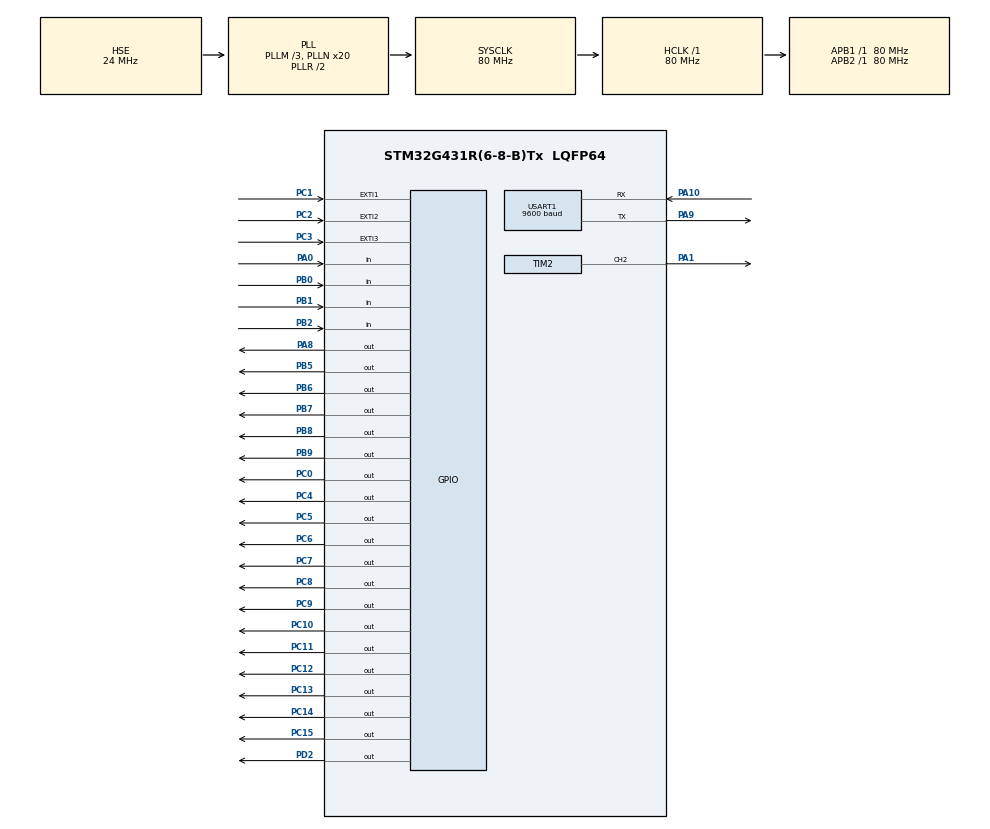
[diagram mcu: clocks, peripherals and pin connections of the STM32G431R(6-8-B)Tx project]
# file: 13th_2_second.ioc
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Mcu.Family=STM32G4
Mcu.Name=STM32G431R(6-8-B)Tx
Mcu.Package=LQFP64
NVIC.PriorityGroup=NVIC_PRIORITYGROUP_4
NVIC.TIM4_IRQn=true\:0\:0\:false\:false\:true\:true\:true\:true
NVIC.USART1_IRQn=true\:0\:0\:false\:false\:true\:true\:true\:true
PA0.GPIO_PuPd=GPIO_PULLUP
PA0.Signal=GPIO_Input
PA1.Signal=S_TIM2_CH2
PA10.Mode=Asynchronous
PA10.Signal=USART1_RX
PA13.Mode=Serial_Wire
PA13.Signal=SYS_JTMS-SWDIO
PA14.Mode=Serial_Wire
PA14.Signal=SYS_JTCK-SWCLK
PA8.Signal=GPIO_Output
PA9.Mode=Asynchronous
PA9.Signal=USART1_TX
PB0.GPIO_PuPd=GPIO_PULLUP
PB0.Signal=GPIO_Input
PB1.GPIO_PuPd=GPIO_PULLUP
PB1.Signal=GPIO_Input
PB2.GPIO_PuPd=GPIO_PULLUP
PB2.Signal=GPIO_Input
PB5.Signal=GPIO_Output
PB6.Signal=GPIO_Output
PB7.Signal=GPIO_Output
PB8-BOOT0.Signal=GPIO_Output
PB9.Signal=GPIO_Output
PC0.Signal=GPIO_Output
PC1.Signal=GPXTI1
PC10.PinState=GPIO_PIN_SET
PC10.Signal=GPIO_Output
PC11.PinState=GPIO_PIN_SET
PC11.Signal=GPIO_Output
PC12.PinState=GPIO_PIN_SET
PC12.Signal=GPIO_Output
PC13.PinState=GPIO_PIN_SET
PC13.Signal=GPIO_Output
PC14-OSC32_IN.PinState=GPIO_PIN_SET
PC14-OSC32_IN.Signal=GPIO_Output
PC15-OSC32_OUT.PinState=GPIO_PIN_SET
PC15-OSC32_OUT.Signal=GPIO_Output
PC2.Signal=GPXTI2
PC3.Signal=GPXTI3
PC4.Signal=GPIO_Output
PC5.Signal=GPIO_Output
PC6.Signal=GPIO_Output
PC7.Signal=GPIO_Output
PC8.PinState=GPIO_PIN_SET
PC8.Signal=GPIO_Output
PC9.PinState=GPIO_PIN_SET
PC9.Signal=GPIO_Output
PD2.Signal=GPIO_Output
PF0-OSC_IN.Mode=HSE-External-Oscillator
PF0-OSC_IN.Signal=RCC_OSC_IN
PF1-OSC_OUT.Mode=HSE-External-Oscillator
PF1-OSC_OUT.Signal=RCC_OSC_OUT
ProjectManager.HeapSize=0x200
ProjectManager.StackSize=0x400
ProjectManager.TargetToolchain=MDK-ARM V5.32
RCC.ADC12Freq_Value=80000000
RCC.AHBFreq_Value=80000000
RCC.APB1Freq_Value=80000000
RCC.APB1TimFreq_Value=80000000
RCC.APB2Freq_Value=80000000
RCC.APB2TimFreq_Value=80000000
RCC.CortexFreq_Value=80000000
RCC.EXTERNAL_CLOCK_VALUE=12288000
RCC.HCLKFreq_Value=80000000
RCC.HSE_VALUE=24000000
RCC.HSI48_VALUE=48000000
RCC.HSI_VALUE=16000000
RCC.LSE_VALUE=32768
RCC.PLLM=RCC_PLLM_DIV3
RCC.PLLN=20
RCC.PLLSourceVirtual=RCC_PLLSOURCE_HSE
RCC.SYSCLKFreq_VALUE=80000000
RCC.SYSCLKSource=RCC_SYSCLKSOURCE_PLLCLK
RCC.USBFreq_Value=80000000
RCC.VCOOutputFreq_Value=160000000
SH.S_TIM2_CH2.0=TIM2_CH2,PWM Generation2 CH2
TIM2.Channel-PWM\ Generation2\ CH2=TIM_CHANNEL_2
TIM2.PeriodNoDither=100-1
TIM2.Prescaler=400-1
TIM2.PulseNoDither_2=5
TIM4.PeriodNoDither=10000-1
TIM4.Prescaler=80-1
USART1.BaudRate=9600
USART1.VirtualMode-Asynchronous=VM_ASYNC
VP_SYS_VS_DBSignals.Mode=DisableDeadBatterySignals
VP_TIM2_VS_ClockSourceINT.Mode=Internal
VP_TIM4_VS_ClockSourceINT.Mode=Internal
board=custom

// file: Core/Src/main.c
/* USER CODE BEGIN Header */
/**
  ******************************************************************************
  * @file           : main.c
  * @brief          : Main program body
  ******************************************************************************
  * @attention
  *
  * Copyright (c) 2024 STMicroelectronics.
  * All rights reserved.
  *
  * This software is licensed under terms that can be found in the LICENSE file
  * in the root directory of this software component.
  * If no LICENSE file comes with this software, it is provided AS-IS.
  *
  ******************************************************************************
  */
/* USER CODE END Header */
#include "main.h"
#include "tim.h"
#include "usart.h"
#include "gpio.h"

/* USER CODE BEGIN Includes */

#include "stdio.h"
#include "string.h"

#include "lcd.h"
#include "led.h"
#include "myusart.h"
#include "timer.h"
#include "i2c - hal.h"

/* USER CODE END Includes */

/* USER CODE BEGIN PTD */

unsigned char ucled=0x00;
unsigned char lcd_text[30];
unsigned char usart_text[30];

unsigned char view=0;

__IO uint32_t uwTick_Lcd;
__IO uint32_t uwTick_Led;

unsigned int X_shop=0;
unsigned int Y_shop=0;

double X_price=1.0;
double Y_price=1.0;

unsigned int X_rep=10;
unsigned int Y_rep=10;

unsigned char buy_flag=0;//购买标志

extern unsigned int buy_sec;

/* USER CODE END PTD */

void SystemClock_Config(void);
/* USER CODE BEGIN PFP */

void lcd_proc(void);
void key_proc(void);
void usart_proc(void);
void led_proc(void);

/* USER CODE END PFP */

int main(void)
{

  /* MCU Configuration--------------------------------------------------------*/

  /* Reset of all peripherals, Initializes the Flash interface and the Systick. */
  HAL_Init();

  /* Configure the system clock */
  SystemClock_Config();

  /* Initialize all configured peripherals */
  MX_GPIO_Init();
  MX_TIM4_Init();
  MX_USART1_UART_Init();
  MX_TIM2_Init();
  /* USER CODE BEGIN 2 */

    led_disp(ucled);

    LCD_Init();
    LCD_Clear(Black);
    LCD_SetBackColor(Black);
    LCD_SetTextColor(White);

    HAL_TIM_Base_Start_IT(&htim4);

    HAL_TIM_PWM_Start(&htim2,TIM_CHANNEL_2);

    HAL_UART_Receive_IT(&huart1,&rxdat,1);

    //第一次上电
    if((eeprom_read(4)!=4)&&(eeprom_read(5)!=5))
    {
        eeprom_write(0,X_rep);
        HAL_Delay(5);
        eeprom_write(1,Y_rep);
        HAL_Delay(5);
        eeprom_write(2,(X_price*10));
        HAL_Delay(5);
        eeprom_write(3,(Y_price*10));
        HAL_Delay(5);
        eeprom_write(4,4);
        HAL_Delay(5);
        eeprom_write(5,5);
        HAL_Delay(5);
    }
    else
    {
        //不是第一次上电,直接从EEPROM读取
        X_rep=eeprom_read(0);
        HAL_Delay(5);
        Y_rep=eeprom_read(1);
        HAL_Delay(5);
        X_price=eeprom_read(2)/10.0;
        HAL_Delay(5);
        Y_price=eeprom_read(3)/10.0;
        HAL_Delay(5);
    }

  /* USER CODE END 2 */

  /* Infinite loop */
  while (1)
  {

    /* USER CODE BEGIN 3 */
      key_proc();
      lcd_proc();
      if(rx_pointer!=0)
      {
          int temp=rx_pointer;
          HAL_Delay(2);
          if(temp==rx_pointer)
              usart_proc();
      }
      led_proc();
  }
  /* USER CODE END 3 */
}

void SystemClock_Config(void)
{
  RCC_OscInitTypeDef RCC_OscInitStruct = {0};
  RCC_ClkInitTypeDef RCC_ClkInitStruct = {0};

  /** Configure the main internal regulator output voltage
  */
  HAL_PWREx_ControlVoltageScaling(PWR_REGULATOR_VOLTAGE_SCALE1);

  /** Initializes the RCC Oscillators according to the specified parameters
  * in the RCC_OscInitTypeDef structure.
  */
  RCC_OscInitStruct.OscillatorType = RCC_OSCILLATORTYPE_HSE;
  RCC_OscInitStruct.HSEState = RCC_HSE_ON;
  RCC_OscInitStruct.PLL.PLLState = RCC_PLL_ON;
  RCC_OscInitStruct.PLL.PLLSource = RCC_PLLSOURCE_HSE;
  RCC_OscInitStruct.PLL.PLLM = RCC_PLLM_DIV3;
  RCC_OscInitStruct.PLL.PLLN = 20;
  RCC_OscInitStruct.PLL.PLLP = RCC_PLLP_DIV2;
  RCC_OscInitStruct.PLL.PLLQ = RCC_PLLQ_DIV2;
  RCC_OscInitStruct.PLL.PLLR = RCC_PLLR_DIV2;
  if (HAL_RCC_OscConfig(&RCC_OscInitStruct) != HAL_OK)
  {
    Error_Handler();
  }

  /** Initializes the CPU, AHB and APB buses clocks
  */
  RCC_ClkInitStruct.ClockType = RCC_CLOCKTYPE_HCLK|RCC_CLOCKTYPE_SYSCLK
                              |RCC_CLOCKTYPE_PCLK1|RCC_CLOCKTYPE_PCLK2;
  RCC_ClkInitStruct.SYSCLKSource = RCC_SYSCLKSOURCE_PLLCLK;
  RCC_ClkInitStruct.AHBCLKDivider = RCC_SYSCLK_DIV1;
  RCC_ClkInitStruct.APB1CLKDivider = RCC_HCLK_DIV1;
  RCC_ClkInitStruct.APB2CLKDivider = RCC_HCLK_DIV1;

  if (HAL_RCC_ClockConfig(&RCC_ClkInitStruct, FLASH_LATENCY_2) != HAL_OK)
  {
    Error_Handler();
  }
}

/* USER CODE BEGIN 4 */

void lcd_proc(void)
{
    if((uwTick-uwTick_Lcd)<100)return;
    uwTick_Lcd=uwTick;
    switch(view)
    {
        case 0://商品购买界面
            memset(lcd_text,0,sizeof(lcd_text));
            sprintf((char *)lcd_text,"        SHOP          ");
            LCD_DisplayStringLine(Line1,lcd_text);

            memset(lcd_text,0,sizeof(lcd_text));
            sprintf((char *)lcd_text,"     X:%d          ",X_shop);
            LCD_DisplayStringLine(Line3,lcd_text);

            memset(lcd_text,0,sizeof(lcd_text));
            sprintf((char *)lcd_text,"     Y:%d          ",Y_shop);
            LCD_DisplayStringLine(Line4,lcd_text);

            break;
        case 1://商品价格界面
            memset(lcd_text,0,sizeof(lcd_text));
            sprintf((char *)lcd_text,"        PRICE          ");
            LCD_DisplayStringLine(Line1,lcd_text);

            memset(lcd_text,0,sizeof(lcd_text));
            sprintf((char *)lcd_text,"     X:%0.1f          ",X_price);
            LCD_DisplayStringLine(Line3,lcd_text);

            memset(lcd_text,0,sizeof(lcd_text));
            sprintf((char *)lcd_text,"     Y:%0.1f          ",Y_price);
            LCD_DisplayStringLine(Line4,lcd_text);
            break;
        case 2://库存信息界面
            memset(lcd_text,0,sizeof(lcd_text));
            sprintf((char *)lcd_text,"        REP          ");
            LCD_DisplayStringLine(Line1,lcd_text);

            memset(lcd_text,0,sizeof(lcd_text));
            sprintf((char *)lcd_text,"     X:%d          ",X_rep);
            LCD_DisplayStringLine(Line3,lcd_text);

            memset(lcd_text,0,sizeof(lcd_text));
            sprintf((char *)lcd_text,"     Y:%d          ",Y_rep);
            LCD_DisplayStringLine(Line4,lcd_text);
            break;
    }

}

void key_proc(void)
{
    if(1==key[0].single_flag)
    {
        key[0].single_flag=0;
        view++;
        if(view==3)view=0;
        LCD_Clear(Black);
    }
    else if(1==key[1].single_flag)//商品X
    {
        key[1].single_flag=0;
        switch(view)
        {
            case 0://商品购买界面下
                X_shop++;
                if(X_shop>X_rep)
                    X_shop=0;
                break;
            case 1://商品价格界面下
                X_price+=0.1;
                if(X_price>2.1)
                    X_price=1.0;

                //修改商品的价格信息
                eeprom_write(2,(10*X_price));
                HAL_Delay(5);

                break;
            case 2://库存信息界面下
                X_rep++;
                eeprom_write(0,X_rep);
                HAL_Delay(5);

                break;
        }
    }
    else if(1==key[2].single_flag)//商品Y
    {
        key[2].single_flag=0;
        switch(view)
        {
            case 0://商品购买界面下
                Y_shop++;
                if(Y_shop>Y_rep)
                    Y_shop=0;
                break;
            case 1://商品价格界面下
                Y_price+=0.1;
                if(Y_price>2.1)
                    Y_price=1.0;
                //修改商品的价格信息
                eeprom_write(3,(10*Y_price));
                HAL_Delay(5);
                break;
            case 2://库存信息界面下
                Y_rep++;
            eeprom_write(1,Y_rep);
            HAL_Delay(5);
                break;
        }
    }
    else if(1==key[3].single_flag)//购买按键
    {
        key[3].single_flag=0;
        if(0==view)
        {
            //确认购买信息
            //库存减少相应数量
            //商品购买界面下的X、Y值重置为0
            __HAL_TIM_SetCompare(&htim2,TIM_CHANNEL_2,30);
            buy_flag=1;
            buy_sec=0;
            X_rep=X_rep-X_shop;
            Y_rep=Y_rep-Y_shop;
            double price;
            price=1.0*X_shop*X_price+1.0*Y_shop*Y_price;
            memset(usart_text,0,sizeof(usart_text));
            sprintf((char *)usart_text,"X:%d,Y:%d,Z:%0.1f",X_shop,Y_shop,price);
            HAL_UART_Transmit(&huart1,usart_text,15,50);

            //修改EEPROM的商品库存信息
            eeprom_write(0,X_rep);
            HAL_Delay(5);
            eeprom_write(1,Y_rep);
            HAL_Delay(5);
            X_shop=0;
            Y_shop=0;
        }
    }
}

void usart_proc(void)
{
    if(rx_pointer!=0)
    {
        if(0==strcmp((char *)rxdata,"?"))
        {
            memset(usart_text,0,sizeof(usart_text));
            sprintf((char *)usart_text,"X:%0.1f,Y:%0.1f",X_price,Y_price);
            HAL_UART_Transmit(&huart1,usart_text,15,50);
        }
        rx_pointer=0;
        memset(rxdata,0,sizeof(rxdata));
    }
}

void led_proc(void)
{
    if((uwTick-uwTick_Led)<50)return;
    uwTick_Led=uwTick;

    led_disp(ucled);
}

/* USER CODE END 4 */

void Error_Handler(void)
{
  __disable_irq();
  while (1)
  {
  }
}
